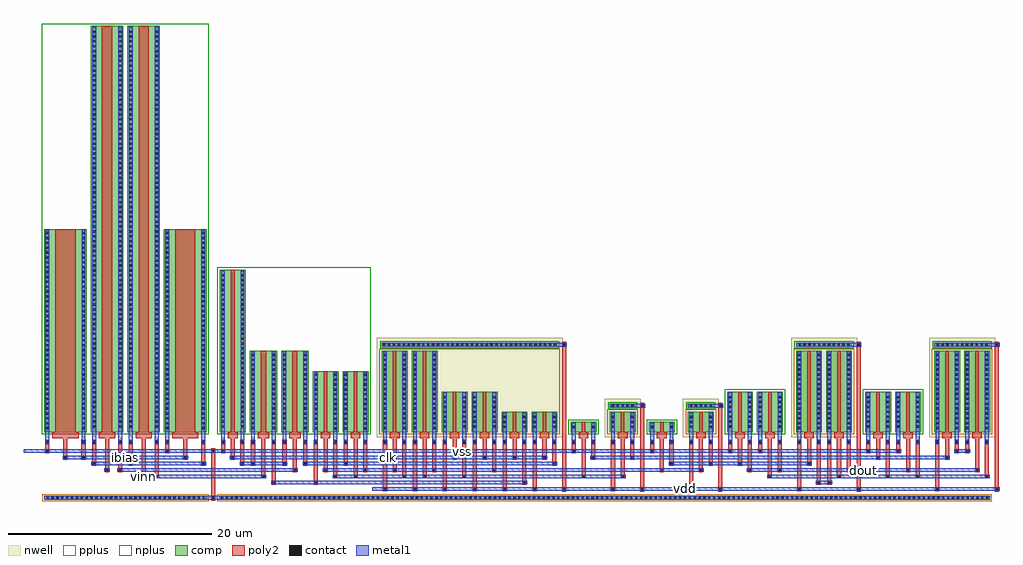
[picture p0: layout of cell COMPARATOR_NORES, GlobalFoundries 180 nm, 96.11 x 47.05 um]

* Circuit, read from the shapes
.subckt COMPARATOR_NORES clk dout doutb ibias vdd vinn vinp vss
XM1 ibias ibias vss vss nfet_03v3 w=20u l=2u
XM2 n1 vinp n2 vss nfet_03v3 w=40u l=1u
XM3 n3 vinn n2 vss nfet_03v3 w=40u l=1u
XM4 n2 ibias vss vss nfet_03v3 w=20u l=2u
XM5 n4 clk vss vss nfet_03v3 w=16u l=0.35u
XM6 n5 n3 n4 vss nfet_03v3 w=8u l=0.5u
XM7 n6 n1 n4 vss nfet_03v3 w=8u l=0.5u
XM8 n7 n8 n5 vss nfet_03v3 w=6u l=0.35u
XM9 n8 n7 n6 vss nfet_03v3 w=6u l=0.35u
XM10 n9 n7 vss vss nfet_03v3 w=1u l=0.35u
XM11 n10 n8 vss vss nfet_03v3 w=1u l=0.35u
XM12 dout n10 vss vss nfet_03v3 w=4u l=0.35u
XM13 dout doutb vss vss nfet_03v3 w=4u l=0.35u
XM14 doutb n9 vss vss nfet_03v3 w=4u l=0.35u
XM15 doutb dout vss vss nfet_03v3 w=4u l=0.35u
XM16 n7 n8 vdd vdd pfet_03v3 w=8u l=0.35u
XM17 n8 n7 vdd vdd pfet_03v3 w=8u l=0.35u
XM18 n7 clk vdd vdd pfet_03v3 w=4u l=0.35u
XM19 n8 clk vdd vdd pfet_03v3 w=4u l=0.35u
XM20 n5 clk vdd vdd pfet_03v3 w=2u l=0.35u
XM21 n6 clk vdd vdd pfet_03v3 w=2u l=0.35u
XM22 n9 n7 vdd vdd pfet_03v3 w=2u l=0.35u
XM23 n10 n8 vdd vdd pfet_03v3 w=2u l=0.35u
XM24 n11 n10 vdd vdd pfet_03v3 w=8u l=0.35u
XM25 dout doutb n11 vdd pfet_03v3 w=8u l=0.35u
XM26 n12 n9 vdd vdd pfet_03v3 w=8u l=0.35u
XM27 doutb dout n12 vdd pfet_03v3 w=8u l=0.35u
.ends

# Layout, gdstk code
import gdstk
lib = gdstk.Library(unit=1e-6, precision=1e-09)
def R(c, l, rs):  # rectangles x0, y0, x1, y1
    for r in rs: c.add(gdstk.rectangle(r[:2], r[2:], *l))
def A(c, l, x, y, w, h, nx, ny, dx, dy):  # array of equal rectangles
    R(c, l, [(x+i*dx, y+j*dy, x+i*dx+w, y+j*dy+h) for i in range(nx) for j in range(ny)])
nwell = (21, 0)
comp = (22, 0)
poly2 = (30, 0)
pplus = (31, 0)
nplus = (32, 0)
contact = (33, 0)
metal1 = (34, 0)

comparator_nores = lib.new_cell('COMPARATOR_NORES')
R(comparator_nores, nwell, [(32.75,-0.5,51.05,9.3), (55.2,-0.5,58.75,3.3), (62.9,-0.5,66.45,3.3), (73.55,-0.5,80.05,9.3), (87.15,-0.5,93.65,9.3)])
A(comparator_nores, comp, 48, 0, 2.55, 2, 3, 1, 7.7, 0)
R(comparator_nores, comp, [(0,-6.66,16.07,-6.26), (17.23,-6.66,93.15,-6.26), (0,0,4.2,20), (4.6,0,7.8,40), (8.2,0,11.4,40), (11.8,0,16,20), (17.3,0,19.85,16), (20.25,0,22.95,8), (23.35,0,26.05,8), (26.45,0,29,6), (29.4,0,31.95,6), (33.25,0,35.8,8), (36.2,0,38.75,8), (39.15,0,41.7,4), (42.1,0,44.65,4), (45.05,0,47.6,2), (51.85,0,54.4,1), (59.55,0,62.1,1), (67.25,0,69.8,4), (70.2,0,72.75,4), (74.05,0,76.6,8), (77,0,79.55,8), (80.85,0,83.4,4), (83.8,0,86.35,4), (87.65,0,90.2,8), (90.6,0,93.15,8), (55.7,2.4,58.25,2.8), (63.4,2.4,65.95,2.8), (33.25,8.4,50.55,8.8), (74.05,8.4,79.55,8.8), (87.65,8.4,93.15,8.8)])
A(comparator_nores, poly2, 33.37, -5.8, 0.4, 4.6, 6, 1, 2.95, 0)
A(comparator_nores, poly2, 40.225, -2.7, 0.4, 1.5, 4, 1, 2.95, 0)
A(comparator_nores, poly2, 51.97, -2.08, 0.4, 0.88, 3, 1, 7.7, 0)
A(comparator_nores, poly2, 34.325, -1.2, 0.4, 0.6, 6, 1, 2.95, 0)
A(comparator_nores, poly2, 52.925, -1.2, 0.4, 0.6, 5, 1, 3.85, 0)
A(comparator_nores, poly2, 34.05, -0.6, 0.95, 0.6, 6, 1, 2.95, 0)
A(comparator_nores, poly2, 52.65, -0.6, 0.95, 0.6, 5, 1, 3.85, 0)
A(comparator_nores, poly2, 49.1, 0, 0.35, 2, 3, 1, 7.7, 0)
R(comparator_nores, poly2, [(16.45,-6.76,16.85,-1.6), (51,-5.86,51.4,8.9), (58.7,-5.86,59.1,2.9), (66.4,-5.86,66.8,2.9), (80,-5.86,80.4,8.9), (93.6,-5.86,94,8.9), (55.82,-5.8,56.22,-1.2), (63.52,-5.8,63.92,-1.2), (74.17,-5.8,74.57,-1.2), (87.77,-5.8,88.17,-1.2), (22.43,-5.18,22.83,-1.2), (26.57,-5.18,26.97,-1.2), (47.08,-5.18,47.48,-1.2), (76.08,-5.18,76.48,-1.2), (77.12,-5.18,77.52,-1.2), (9.6,-4.56,10,-1.2), (10.88,-4.56,11.28,-1.2), (21.4,-4.56,21.8,-1.2), (28.48,-4.56,28.88,-1.2), (30.475,-4.56,30.875,-1.2), (35.28,-4.56,35.68,-1.2), (37.275,-4.56,37.675,-1.2), (41.18,-4.56,41.58,-1.2), (52.925,-4.56,53.325,-1.2), (56.775,-4.56,57.175,-1.2), (71.275,-4.56,71.675,-1.2), (78.075,-4.56,78.475,-1.2), (82.88,-4.56,83.28,-1.2), (85.83,-4.56,86.23,-1.2), (92.63,-4.56,93.03,-1.2), (6,-3.94,6.4,-1.2), (7.28,-3.94,7.68,-1.2), (24.5,-3.94,24.9,-1.2), (27.525,-3.94,27.925,-1.2), (31.43,-3.94,31.83,-1.2), (34.325,-3.94,34.725,-1.2), (38.23,-3.94,38.63,-1.2), (44.13,-3.94,44.53,-1.2), (60.625,-3.94,61.025,-1.2), (64.475,-3.94,64.875,-1.2), (69.28,-3.94,69.68,-1.2), (72.23,-3.94,72.63,-1.2), (79.03,-3.94,79.43,-1.2), (84.875,-3.94,85.275,-1.2), (91.675,-3.94,92.075,-1.2), (4.72,-3.32,5.12,-1.2), (8.32,-3.32,8.72,-1.2), (15.48,-3.32,15.88,-1.2), (19.33,-3.32,19.73,-1.2), (20.37,-3.32,20.77,-1.2), (23.47,-3.32,23.87,-1.2), (25.53,-3.32,25.93,-1.2), (29.52,-3.32,29.92,-1.2), (50.03,-3.32,50.43,-1.2), (61.58,-3.32,61.98,-1.2), (65.43,-3.32,65.83,-1.2), (68.325,-3.32,68.725,-1.2), (75.125,-3.32,75.525,-1.2), (1.9,-2.7,2.3,-1.2), (3.68,-2.7,4.08,-1.2), (13.7,-2.7,14.1,-1.2), (18.375,-2.7,18.775,-1.2), (53.88,-2.7,54.28,-1.2), (57.73,-2.7,58.13,-1.2), (81.925,-2.7,82.325,-1.2), (88.725,-2.7,89.125,-1.2), (0.12,-2.08,0.52,-1.2), (11.92,-2.08,12.32,-1.2), (17.42,-2.08,17.82,-1.2), (70.32,-2.08,70.72,-1.2), (80.97,-2.08,81.37,-1.2), (83.92,-2.08,84.32,-1.2), (89.68,-2.08,90.08,-1.2), (90.72,-2.08,91.12,-1.2), (0.12,-1.2,0.52,-0.75), (1.9,-1.2,2.3,-0.6), (3.68,-1.2,4.08,-0.75), (4.72,-1.2,5.12,-0.75), (6,-1.2,6.4,-0.6), (7.28,-1.2,7.68,-0.75), (8.32,-1.2,8.72,-0.75), (9.6,-1.2,10,-0.6), (10.88,-1.2,11.28,-0.75), (11.92,-1.2,12.32,-0.75), (13.7,-1.2,14.1,-0.6), (15.48,-1.2,15.88,-0.75), (17.42,-1.2,17.82,-0.75), (18.375,-1.2,18.775,-0.6), (19.33,-1.2,19.73,-0.75), (20.37,-1.2,20.77,-0.75), (21.4,-1.2,21.8,-0.6), (22.43,-1.2,22.83,-0.75), (23.47,-1.2,23.87,-0.75), (24.5,-1.2,24.9,-0.6), (25.53,-1.2,25.93,-0.75), (26.57,-1.2,26.97,-0.75), (27.525,-1.2,27.925,-0.6), (28.48,-1.2,28.88,-0.75), (29.52,-1.2,29.92,-0.75), (30.475,-1.2,30.875,-0.6), (31.43,-1.2,31.83,-0.75), (33.37,-1.2,33.77,-0.75), (35.28,-1.2,35.68,-0.75), (36.32,-1.2,36.72,-0.75), (38.23,-1.2,38.63,-0.75), (39.27,-1.2,39.67,-0.75), (41.18,-1.2,41.58,-0.75), (42.22,-1.2,42.62,-0.75), (44.13,-1.2,44.53,-0.75), (45.17,-1.2,45.57,-0.75), (47.08,-1.2,47.48,-0.75), (48.12,-1.2,48.52,-0.75), (50.03,-1.2,50.43,-0.75), (51.97,-1.2,52.37,-0.75), (53.88,-1.2,54.28,-0.75), (55.82,-1.2,56.22,-0.75), (57.73,-1.2,58.13,-0.75), (59.67,-1.2,60.07,-0.75), (61.58,-1.2,61.98,-0.75), (63.52,-1.2,63.92,-0.75), (65.43,-1.2,65.83,-0.75), (67.37,-1.2,67.77,-0.75), (69.28,-1.2,69.68,-0.75), (70.32,-1.2,70.72,-0.75), (71.275,-1.2,71.675,-0.6), (72.23,-1.2,72.63,-0.75), (74.17,-1.2,74.57,-0.75), (75.125,-1.2,75.525,-0.6), (76.08,-1.2,76.48,-0.75), (77.12,-1.2,77.52,-0.75), (78.075,-1.2,78.475,-0.6), (79.03,-1.2,79.43,-0.75), (80.97,-1.2,81.37,-0.75), (81.925,-1.2,82.325,-0.6), (82.88,-1.2,83.28,-0.75), (83.92,-1.2,84.32,-0.75), (84.875,-1.2,85.275,-0.6), (85.83,-1.2,86.23,-0.75), (87.77,-1.2,88.17,-0.75), (88.725,-1.2,89.125,-0.6), (89.68,-1.2,90.08,-0.75), (90.72,-1.2,91.12,-0.75), (91.675,-1.2,92.075,-0.6), (92.63,-1.2,93.03,-0.75), (0.8,-0.6,3.4,0), (5.4,-0.6,7,0), (9,-0.6,10.6,0), (12.6,-0.6,15.2,0), (18.1,-0.6,19.05,0), (21.05,-0.6,22.15,0), (24.15,-0.6,25.25,0), (27.25,-0.6,28.2,0), (30.2,-0.6,31.15,0), (71,-0.6,71.95,0), (74.85,-0.6,75.8,0), (77.8,-0.6,78.75,0), (81.65,-0.6,82.6,0), (84.6,-0.6,85.55,0), (88.45,-0.6,89.4,0), (91.4,-0.6,92.35,0), (1.1,0,3.1,20), (5.7,0,6.7,40), (9.3,0,10.3,40), (12.9,0,14.9,20), (18.4,0,18.75,16), (21.35,0,21.85,8), (24.45,0,24.95,8), (27.55,0,27.9,6), (30.5,0,30.85,6), (34.35,0,34.7,8), (37.3,0,37.65,8), (40.25,0,40.6,4), (43.2,0,43.55,4), (46.15,0,46.5,2), (52.95,0,53.3,1), (60.65,0,61,1), (68.35,0,68.7,4), (71.3,0,71.65,4), (75.15,0,75.5,8), (78.1,0,78.45,8), (81.95,0,82.3,4), (84.9,0,85.25,4), (88.75,0,89.1,8), (91.7,0,92.05,8)])
R(comparator_nores, pplus, [(-0.16,-6.82,16.23,-6.1), (17.07,-6.82,93.31,-6.1), (33.02,-0.23,50.78,8.23), (55.47,-0.23,58.48,2.23), (63.17,-0.23,66.18,2.23), (73.82,-0.23,79.78,8.23), (87.42,-0.23,93.38,8.23)])
R(comparator_nores, nplus, [(-0.23,-0.23,16.23,40.23), (17.07,-0.23,32.18,16.23), (51.62,-0.23,54.63,1.23), (59.32,-0.23,62.33,1.23), (67.02,-0.23,72.98,4.23), (80.62,-0.23,86.58,4.23), (55.54,2.24,58.41,2.96), (63.24,2.24,66.11,2.96), (33.09,8.24,50.71,8.96), (73.89,8.24,79.71,8.96), (87.49,8.24,93.31,8.96)])
A(comparator_nores, contact, 0.245, -6.57, 0.22, 0.22, 33, 1, 0.48, 0)
A(comparator_nores, contact, 17.4, -6.57, 0.22, 0.22, 158, 1, 0.48, 0)
A(comparator_nores, contact, 33.46, -5.7, 0.22, 0.22, 6, 1, 2.95, 0)
A(comparator_nores, contact, 40.315, -2.6, 0.22, 0.22, 4, 1, 2.95, 0)
A(comparator_nores, contact, 52.06, -1.98, 0.22, 0.22, 3, 1, 7.7, 0)
A(comparator_nores, contact, 26.66, 0.25, 0.22, 0.22, 1, 12, 0, 0.48)
A(comparator_nores, contact, 28.57, 0.25, 0.22, 0.22, 1, 12, 0, 0.48)
A(comparator_nores, contact, 29.61, 0.25, 0.22, 0.22, 1, 12, 0, 0.48)
A(comparator_nores, contact, 31.52, 0.25, 0.22, 0.22, 1, 12, 0, 0.48)
A(comparator_nores, contact, 0.21, 0.29, 0.22, 0.22, 1, 41, 0, 0.48)
A(comparator_nores, contact, 3.77, 0.29, 0.22, 0.22, 1, 41, 0, 0.48)
A(comparator_nores, contact, 12.01, 0.29, 0.22, 0.22, 1, 41, 0, 0.48)
A(comparator_nores, contact, 15.57, 0.29, 0.22, 0.22, 1, 41, 0, 0.48)
A(comparator_nores, contact, 20.46, 0.29, 0.22, 0.22, 1, 16, 0, 0.48)
A(comparator_nores, contact, 22.52, 0.29, 0.22, 0.22, 1, 16, 0, 0.48)
A(comparator_nores, contact, 23.56, 0.29, 0.22, 0.22, 1, 16, 0, 0.48)
A(comparator_nores, contact, 25.62, 0.29, 0.22, 0.22, 1, 16, 0, 0.48)
A(comparator_nores, contact, 33.46, 0.29, 0.22, 0.22, 1, 16, 0, 0.48)
A(comparator_nores, contact, 35.37, 0.29, 0.22, 0.22, 1, 16, 0, 0.48)
A(comparator_nores, contact, 36.41, 0.29, 0.22, 0.22, 1, 16, 0, 0.48)
A(comparator_nores, contact, 38.32, 0.29, 0.22, 0.22, 1, 16, 0, 0.48)
A(comparator_nores, contact, 74.26, 0.29, 0.22, 0.22, 1, 16, 0, 0.48)
A(comparator_nores, contact, 76.17, 0.29, 0.22, 0.22, 1, 16, 0, 0.48)
A(comparator_nores, contact, 77.21, 0.29, 0.22, 0.22, 1, 16, 0, 0.48)
A(comparator_nores, contact, 79.12, 0.29, 0.22, 0.22, 1, 16, 0, 0.48)
A(comparator_nores, contact, 87.86, 0.29, 0.22, 0.22, 1, 16, 0, 0.48)
A(comparator_nores, contact, 89.77, 0.29, 0.22, 0.22, 1, 16, 0, 0.48)
A(comparator_nores, contact, 90.81, 0.29, 0.22, 0.22, 1, 16, 0, 0.48)
A(comparator_nores, contact, 92.72, 0.29, 0.22, 0.22, 1, 16, 0, 0.48)
A(comparator_nores, contact, 45.26, 0.41, 0.22, 0.22, 1, 3, 0, 0.48)
A(comparator_nores, contact, 47.17, 0.41, 0.22, 0.22, 1, 3, 0, 0.48)
A(comparator_nores, contact, 48.21, 0.41, 0.22, 0.22, 1, 3, 0, 0.48)
A(comparator_nores, contact, 50.12, 0.41, 0.22, 0.22, 1, 3, 0, 0.48)
A(comparator_nores, contact, 55.91, 0.41, 0.22, 0.22, 1, 3, 0, 0.48)
A(comparator_nores, contact, 57.82, 0.41, 0.22, 0.22, 1, 3, 0, 0.48)
A(comparator_nores, contact, 63.61, 0.41, 0.22, 0.22, 1, 3, 0, 0.48)
A(comparator_nores, contact, 65.52, 0.41, 0.22, 0.22, 1, 3, 0, 0.48)
A(comparator_nores, contact, 4.81, 0.45, 0.22, 0.22, 1, 82, 0, 0.48)
A(comparator_nores, contact, 7.37, 0.45, 0.22, 0.22, 1, 82, 0, 0.48)
A(comparator_nores, contact, 8.41, 0.45, 0.22, 0.22, 1, 82, 0, 0.48)
A(comparator_nores, contact, 10.97, 0.45, 0.22, 0.22, 1, 82, 0, 0.48)
A(comparator_nores, contact, 17.51, 0.45, 0.22, 0.22, 1, 32, 0, 0.48)
A(comparator_nores, contact, 19.42, 0.45, 0.22, 0.22, 1, 32, 0, 0.48)
A(comparator_nores, contact, 39.36, 0.45, 0.22, 0.22, 1, 7, 0, 0.48)
A(comparator_nores, contact, 41.27, 0.45, 0.22, 0.22, 1, 7, 0, 0.48)
A(comparator_nores, contact, 42.31, 0.45, 0.22, 0.22, 1, 7, 0, 0.48)
A(comparator_nores, contact, 44.22, 0.45, 0.22, 0.22, 1, 7, 0, 0.48)
A(comparator_nores, contact, 67.46, 0.45, 0.22, 0.22, 1, 7, 0, 0.48)
A(comparator_nores, contact, 69.37, 0.45, 0.22, 0.22, 1, 7, 0, 0.48)
A(comparator_nores, contact, 70.41, 0.45, 0.22, 0.22, 1, 7, 0, 0.48)
A(comparator_nores, contact, 72.32, 0.45, 0.22, 0.22, 1, 7, 0, 0.48)
A(comparator_nores, contact, 81.06, 0.45, 0.22, 0.22, 1, 7, 0, 0.48)
A(comparator_nores, contact, 82.97, 0.45, 0.22, 0.22, 1, 7, 0, 0.48)
A(comparator_nores, contact, 84.01, 0.45, 0.22, 0.22, 1, 7, 0, 0.48)
A(comparator_nores, contact, 85.92, 0.45, 0.22, 0.22, 1, 7, 0, 0.48)
A(comparator_nores, contact, 55.905, 2.49, 0.22, 0.22, 5, 1, 0.48, 0)
A(comparator_nores, contact, 63.605, 2.49, 0.22, 0.22, 5, 1, 0.48, 0)
A(comparator_nores, contact, 33.39, 8.49, 0.22, 0.22, 36, 1, 0.48, 0)
A(comparator_nores, contact, 74.29, 8.49, 0.22, 0.22, 11, 1, 0.48, 0)
A(comparator_nores, contact, 87.89, 8.49, 0.22, 0.22, 11, 1, 0.48, 0)
R(comparator_nores, contact, [(16.54,-6.57,16.76,-6.35), (51.09,-5.7,51.31,-5.48), (55.91,-5.7,56.13,-5.48), (58.79,-5.7,59.01,-5.48), (63.61,-5.7,63.83,-5.48), (66.49,-5.7,66.71,-5.48), (74.26,-5.7,74.48,-5.48), (80.09,-5.7,80.31,-5.48), (87.86,-5.7,88.08,-5.48), (93.69,-5.7,93.91,-5.48), (22.52,-5.08,22.74,-4.86), (26.66,-5.08,26.88,-4.86), (47.17,-5.08,47.39,-4.86), (76.17,-5.08,76.39,-4.86), (77.21,-5.08,77.43,-4.86), (9.69,-4.46,9.91,-4.24), (10.97,-4.46,11.19,-4.24), (21.49,-4.46,21.71,-4.24), (28.57,-4.46,28.79,-4.24), (30.565,-4.46,30.785,-4.24), (35.37,-4.46,35.59,-4.24), (37.365,-4.46,37.585,-4.24), (41.27,-4.46,41.49,-4.24), (53.015,-4.46,53.235,-4.24), (56.865,-4.46,57.085,-4.24), (71.365,-4.46,71.585,-4.24), (78.165,-4.46,78.385,-4.24), (82.97,-4.46,83.19,-4.24), (85.92,-4.46,86.14,-4.24), (92.72,-4.46,92.94,-4.24), (6.09,-3.84,6.31,-3.62), (7.37,-3.84,7.59,-3.62), (24.59,-3.84,24.81,-3.62), (27.615,-3.84,27.835,-3.62), (31.52,-3.84,31.74,-3.62), (34.415,-3.84,34.635,-3.62), (38.32,-3.84,38.54,-3.62), (44.22,-3.84,44.44,-3.62), (60.715,-3.84,60.935,-3.62), (64.565,-3.84,64.785,-3.62), (69.37,-3.84,69.59,-3.62), (72.32,-3.84,72.54,-3.62), (79.12,-3.84,79.34,-3.62), (84.965,-3.84,85.185,-3.62), (91.765,-3.84,91.985,-3.62), (4.81,-3.22,5.03,-3), (8.41,-3.22,8.63,-3), (15.57,-3.22,15.79,-3), (19.42,-3.22,19.64,-3), (20.46,-3.22,20.68,-3), (23.56,-3.22,23.78,-3), (25.62,-3.22,25.84,-3), (29.61,-3.22,29.83,-3), (50.12,-3.22,50.34,-3), (61.67,-3.22,61.89,-3), (65.52,-3.22,65.74,-3), (68.415,-3.22,68.635,-3), (75.215,-3.22,75.435,-3), (1.99,-2.6,2.21,-2.38), (3.77,-2.6,3.99,-2.38), (13.79,-2.6,14.01,-2.38), (18.465,-2.6,18.685,-2.38), (53.97,-2.6,54.19,-2.38), (57.82,-2.6,58.04,-2.38), (82.015,-2.6,82.235,-2.38), (88.815,-2.6,89.035,-2.38), (0.21,-1.98,0.43,-1.76), (12.01,-1.98,12.23,-1.76), (16.54,-1.98,16.76,-1.76), (17.51,-1.98,17.73,-1.76), (70.41,-1.98,70.63,-1.76), (81.06,-1.98,81.28,-1.76), (84.01,-1.98,84.23,-1.76), (89.77,-1.98,89.99,-1.76), (90.81,-1.98,91.03,-1.76), (0.21,-1.08,0.43,-0.86), (3.77,-1.08,3.99,-0.86), (4.81,-1.08,5.03,-0.86), (7.37,-1.08,7.59,-0.86), (8.41,-1.08,8.63,-0.86), (10.97,-1.08,11.19,-0.86), (12.01,-1.08,12.23,-0.86), (15.57,-1.08,15.79,-0.86), (17.51,-1.08,17.73,-0.86), (19.42,-1.08,19.64,-0.86), (20.46,-1.08,20.68,-0.86), (22.52,-1.08,22.74,-0.86), (23.56,-1.08,23.78,-0.86), (25.62,-1.08,25.84,-0.86), (26.66,-1.08,26.88,-0.86), (28.57,-1.08,28.79,-0.86), (29.61,-1.08,29.83,-0.86), (31.52,-1.08,31.74,-0.86), (33.46,-1.08,33.68,-0.86), (35.37,-1.08,35.59,-0.86), (36.41,-1.08,36.63,-0.86), (38.32,-1.08,38.54,-0.86), (39.36,-1.08,39.58,-0.86), (41.27,-1.08,41.49,-0.86), (42.31,-1.08,42.53,-0.86), (44.22,-1.08,44.44,-0.86), (45.26,-1.08,45.48,-0.86), (47.17,-1.08,47.39,-0.86), (48.21,-1.08,48.43,-0.86), (50.12,-1.08,50.34,-0.86), (52.06,-1.08,52.28,-0.86), (53.97,-1.08,54.19,-0.86), (55.91,-1.08,56.13,-0.86), (57.82,-1.08,58.04,-0.86), (59.76,-1.08,59.98,-0.86), (61.67,-1.08,61.89,-0.86), (63.61,-1.08,63.83,-0.86), (65.52,-1.08,65.74,-0.86), (67.46,-1.08,67.68,-0.86), (69.37,-1.08,69.59,-0.86), (70.41,-1.08,70.63,-0.86), (72.32,-1.08,72.54,-0.86), (74.26,-1.08,74.48,-0.86), (76.17,-1.08,76.39,-0.86), (77.21,-1.08,77.43,-0.86), (79.12,-1.08,79.34,-0.86), (81.06,-1.08,81.28,-0.86), (82.97,-1.08,83.19,-0.86), (84.01,-1.08,84.23,-0.86), (85.92,-1.08,86.14,-0.86), (87.86,-1.08,88.08,-0.86), (89.77,-1.08,89.99,-0.86), (90.81,-1.08,91.03,-0.86), (92.72,-1.08,92.94,-0.86), (52.06,0.39,52.28,0.61), (53.97,0.39,54.19,0.61), (59.76,0.39,59.98,0.61), (61.67,0.39,61.89,0.61), (58.79,2.49,59.01,2.71), (66.49,2.49,66.71,2.71), (51.09,8.49,51.31,8.71), (80.09,8.49,80.31,8.71), (93.69,8.49,93.91,8.71)])
R(comparator_nores, metal1, [(0,-6.66,93.15,-6.26), (32.32,-5.76,94.08,-5.42), (22.35,-5.14,47.56,-4.8), (76,-5.14,77.6,-4.8), (9.52,-4.52,10.08,-4.18), (10.8,-4.52,21.88,-4.18), (28.4,-4.52,57.255,-4.18), (71.195,-4.52,93.11,-4.18), (5.92,-3.9,6.48,-3.56), (7.2,-3.9,24.98,-3.56), (27.445,-3.9,64.955,-3.56), (69.2,-3.9,92.155,-3.56), (4.64,-3.28,15.96,-2.94), (19.25,-3.28,23.95,-2.94), (25.45,-3.28,50.51,-2.94), (61.5,-3.28,75.605,-2.94), (1.82,-2.66,14.18,-2.32), (18.295,-2.66,49.555,-2.32), (53.8,-2.66,89.205,-2.32), (-2.03,-2.04,84.4,-1.7), (89.6,-2.04,91.2,-1.7), (0.13,-1.2,0.51,0.09), (3.69,-1.2,4.07,0.09), (4.73,-1.2,5.11,0.09), (7.29,-1.2,7.67,0.09), (8.33,-1.2,8.71,0.09), (10.89,-1.2,11.27,0.09), (11.93,-1.2,12.31,0.09), (15.49,-1.2,15.87,0.09), (17.43,-1.2,17.81,0.09), (19.34,-1.2,19.72,0.09), (20.38,-1.2,20.76,0.09), (22.44,-1.2,22.82,0.09), (23.48,-1.2,23.86,0.09), (25.54,-1.2,25.92,0.09), (26.58,-1.2,26.96,0.09), (28.49,-1.2,28.87,0.09), (29.53,-1.2,29.91,0.09), (31.44,-1.2,31.82,0.09), (33.38,-1.2,33.76,0.09), (35.29,-1.2,35.67,0.09), (36.33,-1.2,36.71,0.09), (38.24,-1.2,38.62,0.09), (39.28,-1.2,39.66,0.09), (41.19,-1.2,41.57,0.09), (42.23,-1.2,42.61,0.09), (44.14,-1.2,44.52,0.09), (45.18,-1.2,45.56,0.09), (47.09,-1.2,47.47,0.09), (48.13,-1.2,48.51,0.09), (50.04,-1.2,50.42,0.09), (51.98,-1.2,52.36,0.09), (53.89,-1.2,54.27,0.09), (55.83,-1.2,56.21,0.09), (57.74,-1.2,58.12,0.09), (59.68,-1.2,60.06,0.09), (61.59,-1.2,61.97,0.09), (63.53,-1.2,63.91,0.09), (65.44,-1.2,65.82,0.09), (67.38,-1.2,67.76,0.09), (69.29,-1.2,69.67,0.09), (70.33,-1.2,70.71,0.09), (72.24,-1.2,72.62,0.09), (74.18,-1.2,74.56,0.09), (76.09,-1.2,76.47,0.09), (77.13,-1.2,77.51,0.09), (79.04,-1.2,79.42,0.09), (80.98,-1.2,81.36,0.09), (82.89,-1.2,83.27,0.09), (83.93,-1.2,84.31,0.09), (85.84,-1.2,86.22,0.09), (87.78,-1.2,88.16,0.09), (89.69,-1.2,90.07,0.09), (90.73,-1.2,91.11,0.09), (92.64,-1.2,93.02,0.09), (0.13,0.09,0.51,19.91), (3.69,0.09,4.07,19.91), (4.73,0.09,5.11,39.91), (7.29,0.09,7.67,39.91), (8.33,0.09,8.71,39.91), (10.89,0.09,11.27,39.91), (11.93,0.09,12.31,19.91), (15.49,0.09,15.87,19.91), (17.43,0.09,17.81,15.91), (19.34,0.09,19.72,15.91), (20.38,0.09,20.76,7.91), (22.44,0.09,22.82,7.91), (23.48,0.09,23.86,7.91), (25.54,0.09,25.92,7.91), (26.58,0.09,26.96,5.91), (28.49,0.09,28.87,5.91), (29.53,0.09,29.91,5.91), (31.44,0.09,31.82,5.91), (33.38,0.09,33.76,7.91), (35.29,0.09,35.67,7.91), (36.33,0.09,36.71,7.91), (38.24,0.09,38.62,7.91), (39.28,0.09,39.66,3.91), (41.19,0.09,41.57,3.91), (42.23,0.09,42.61,3.91), (44.14,0.09,44.52,3.91), (45.18,0.09,45.56,1.91), (47.09,0.09,47.47,1.91), (48.13,0.09,48.51,1.91), (50.04,0.09,50.42,1.91), (51.98,0.09,52.36,0.91), (53.89,0.09,54.27,0.91), (55.83,0.09,56.21,1.91), (57.74,0.09,58.12,1.91), (59.68,0.09,60.06,0.91), (61.59,0.09,61.97,0.91), (63.53,0.09,63.91,1.91), (65.44,0.09,65.82,1.91), (67.38,0.09,67.76,3.91), (69.29,0.09,69.67,3.91), (70.33,0.09,70.71,3.91), (72.24,0.09,72.62,3.91), (74.18,0.09,74.56,7.91), (76.09,0.09,76.47,7.91), (77.13,0.09,77.51,7.91), (79.04,0.09,79.42,7.91), (80.98,0.09,81.36,3.91), (82.89,0.09,83.27,3.91), (83.93,0.09,84.31,3.91), (85.84,0.09,86.22,3.91), (87.78,0.09,88.16,7.91), (89.69,0.09,90.07,7.91), (90.73,0.09,91.11,7.91), (92.64,0.09,93.02,7.91), (55.7,2.4,58.25,2.8), (55.7,2.4,59.18,2.8), (63.4,2.4,65.95,2.8), (63.4,2.4,66.88,2.8), (33.25,8.4,50.55,8.8), (33.25,8.4,51.48,8.8), (74.05,8.4,79.55,8.8), (74.05,8.4,80.48,8.8), (87.65,8.4,93.15,8.8), (87.65,8.4,94.08,8.8)])
comparator_nores.add(gdstk.Label('vss', (41.185,-1.87), layer=34, texttype=10))
comparator_nores.add(gdstk.Label('ibias', (8,-2.49), layer=34, texttype=10))
comparator_nores.add(gdstk.Label('vinp', (6.2,-3.73), layer=34, texttype=10))
comparator_nores.add(gdstk.Label('vinn', (9.8,-4.35), layer=34, texttype=10))
comparator_nores.add(gdstk.Label('clk', (33.925,-2.49), layer=34, texttype=10))
comparator_nores.add(gdstk.Label('vdd', (63.2,-5.59), layer=34, texttype=10))
comparator_nores.add(gdstk.Label('dout', (80.677,-3.73), layer=34, texttype=10))
comparator_nores.add(gdstk.Label('doutb', (82.152,-4.35), layer=34, texttype=10))

lib.write_gds('COMPARATOR_NORES.gds')
